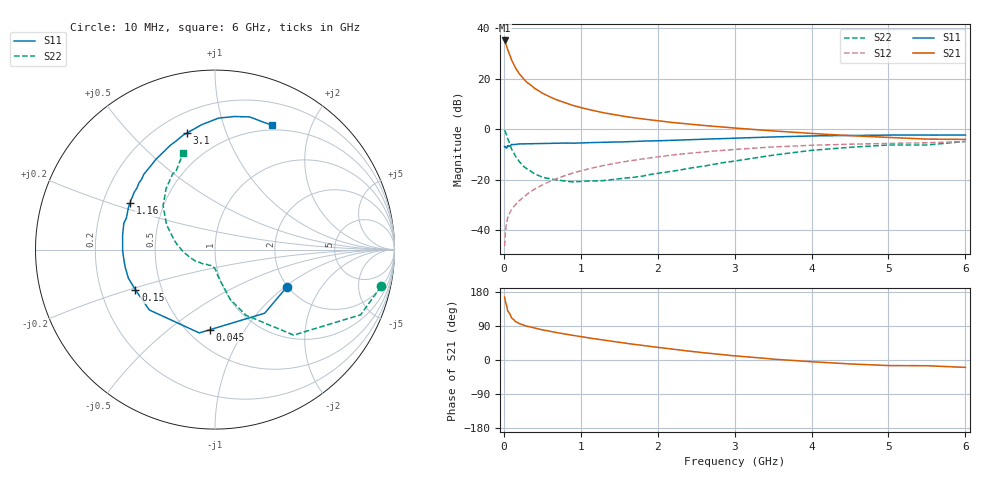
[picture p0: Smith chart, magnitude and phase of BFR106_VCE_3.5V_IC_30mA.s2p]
! Infineon Technologies  Discrete & RF Semiconductors
! BFR106
! VCE =  3.5 V,  IC =  30 mA
! Common Emitter S-Parameters:  Nov 2015
# GHz  S  MA  R  50
!  f  S11  S21  S12  S22
! GHz  MAG  ANG  MAG  ANG  MAG  ANG  MAG  ANG
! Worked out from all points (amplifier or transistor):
!   210 points, 10 MHz to 6 GHz, reference 50 ohm
!   highest |S21| = 35.1 dB at 10 MHz (marker M1)
!   |S21| within 3 dB of that: start of sweep to 43.5 MHz
!   unconditionally stable (mu >= 1): 314.4 MHz to 2.29 GHz; 5.499 GHz to 5.606 GHz
!   at 185 MHz: K = 0.85, MSG = 25.8 dB, |S12| = -28.8 dB
!   at 1.52 GHz: K = 1.05, MAG = 7.8 dB, |S12| = -13.2 dB
!   at 6 GHz: K = 1.00, MSG = 0.4 dB, |S12| = -4.9 dB
!   S11 on the Smith chart (normalised r, x): 10 MHz: 1.97, -1.03; 45 MHz: 0.64, -0.71; 150 MHz: 0.35, -0.21; 1.16 GHz: 0.32, +0.23; 3.1 GHz: 0.31, +0.74; 6 GHz: 0.44, +1.46
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0.01  0.451 -27.6  56.8 165.9  0.0048 83.1  0.9484 -12.4
0.02  0.4497 -52.0  52.58 154.4  0.0091 73.2  0.8891 -24.1
0.045  0.4468 -93.5  39.58 135.1  0.0161 61.2  0.6782 -42.4
0.05  0.4725 -100.7  37.73 129.8  0.0176 60.0  0.6475 -47.4
0.1  0.4969 -137.4  23.27 111.0  0.0256 56.5  0.4039 -64.8
0.15  0.4969 -153.1  16.27 101.6  0.0316 58.1  0.29 -73.0
0.2  0.5081 -161.7  12.51 96.2  0.0382 61.9  0.2276 -76.0
0.24  0.5086 -166.7  10.54 93.0  0.0428 63.3  0.1938 -78.8
0.26  0.5094 -168.8  9.73 91.5  0.0454 64.1  0.1809 -80.1
0.3  0.5103 -171.8  8.441 89.1  0.051 65.8  0.1629 -82.1
0.4  0.5146 -179.1  6.409 84.1  0.0646 67.6  0.13 -85.6
0.5  0.5164 175.9  5.143 79.6  0.078 68.4  0.1115 -88.2
0.6  0.5208 171.2  4.317 75.6  0.092 68.6  0.1032 -91.3
0.8  0.5288 163.8  3.28 68.2  0.1207 67.4  0.0928 -100.1
1.02  0.533 155.6  2.619 61.2  0.1515 65.7  0.0923 -107.9
1.16  0.5406 151.2  2.333 56.6  0.1709 64.0  0.0937 -115.4
1.6  0.5631 138.9  1.749 43.8  0.2304 58.2  0.1082 -135.8
2.02  0.5868 127.9  1.443 32.7  0.2842 52.1  0.1341 -155.5
3.1  0.6674 103.7  1.021 9.4  0.4042 35.5  0.2453 163.6
4.1  0.7353 87.1  0.802 -5.7  0.4821 20.4  0.3893 137.3
5.1  0.7624 74.2  0.673 -14.8  0.5246 7.5  0.484 118.7
6  0.7626 65.6  0.624 -19.5  0.5666 -2.3  0.5688 108.1
